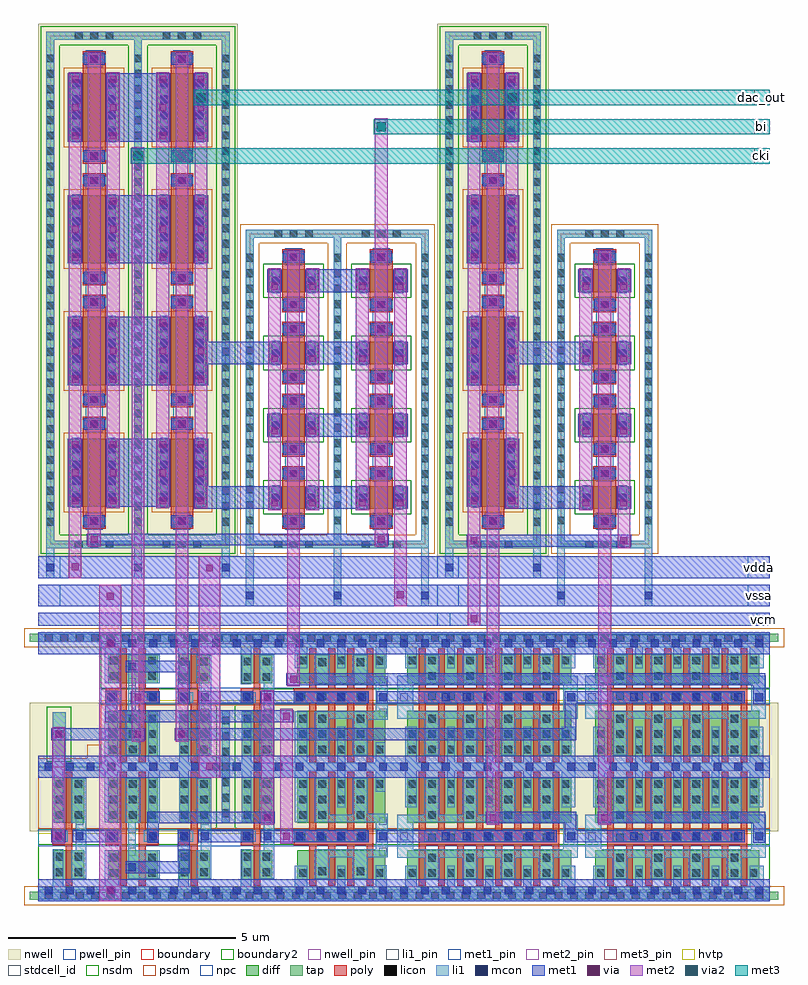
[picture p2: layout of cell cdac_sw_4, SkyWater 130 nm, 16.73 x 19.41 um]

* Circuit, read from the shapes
.subckt cdac_sw_4 bi cki dac_out vcm vdda vssa
XM1 nooverlap_clk_0/sky130_fd_sc_hd__nand2_1_1/B cki vssa vssa sky130_fd_pr__nfet_01v8 w=0.65 l=0.15
XM2 n1 nooverlap_clk_0/sky130_fd_sc_hd__nand2_1_1/B vssa vssa sky130_fd_pr__nfet_01v8 w=0.65 l=0.15
XM3 n2 nooverlap_clk_0/sky130_fd_sc_hd__inv_4_8/A vssa vssa sky130_fd_pr__nfet_01v8 w=0.65 l=0.15
XM4 nooverlap_clk_0/sky130_fd_sc_hd__inv_1_4/A nooverlap_clk_0/sky130_fd_sc_hd__inv_4_7/A n1 vssa sky130_fd_pr__nfet_01v8 w=0.65 l=0.15
XM5 nooverlap_clk_0/sky130_fd_sc_hd__inv_1_3/A cki n2 vssa sky130_fd_pr__nfet_01v8 w=0.65 l=0.15
XM6 nooverlap_clk_0/sky130_fd_sc_hd__inv_1_6/A nooverlap_clk_0/sky130_fd_sc_hd__inv_1_4/A vssa vssa sky130_fd_pr__nfet_01v8 w=0.65 l=0.15
XM7 nooverlap_clk_0/sky130_fd_sc_hd__inv_1_5/A nooverlap_clk_0/sky130_fd_sc_hd__inv_1_3/A vssa vssa sky130_fd_pr__nfet_01v8 w=0.65 l=0.15
XM8 nooverlap_clk_0/sky130_fd_sc_hd__inv_4_8/A nooverlap_clk_0/sky130_fd_sc_hd__inv_1_6/A vssa vssa sky130_fd_pr__nfet_01v8 w=0.65 l=0.15
XM9 nooverlap_clk_0/sky130_fd_sc_hd__inv_4_7/A nooverlap_clk_0/sky130_fd_sc_hd__inv_1_5/A vssa vssa sky130_fd_pr__nfet_01v8 w=0.65 l=0.15
XM10 n3 dac_sw_4_1/ck dac_out vssa sky130_fd_pr__nfet_01v8 w=0.5 l=0.5 m=4
XM11 nooverlap_clk_0/sky130_fd_sc_hd__inv_8_10/A nooverlap_clk_0/sky130_fd_sc_hd__inv_4_8/A vssa vssa sky130_fd_pr__nfet_01v8 w=0.65 l=0.15 m=4
XM12 nooverlap_clk_0/sky130_fd_sc_hd__inv_8_9/A nooverlap_clk_0/sky130_fd_sc_hd__inv_4_7/A vssa vssa sky130_fd_pr__nfet_01v8 w=0.65 l=0.15 m=4
XM13 vssa bi n3 vssa sky130_fd_pr__nfet_01v8 w=0.5 l=0.5 m=4
XM14 nooverlap_clk_0/clkb1 nooverlap_clk_0/sky130_fd_sc_hd__inv_8_10/A vssa vssa sky130_fd_pr__nfet_01v8 w=0.65 l=0.15 m=8
XM15 dac_sw_4_1/ckb nooverlap_clk_0/sky130_fd_sc_hd__inv_8_9/A vssa vssa sky130_fd_pr__nfet_01v8 w=0.65 l=0.15 m=8
XM16 vcm nooverlap_clk_0/clk1 dac_out vssa sky130_fd_pr__nfet_01v8 w=0.5 l=0.5 m=4
XM17 nooverlap_clk_0/clk1 nooverlap_clk_0/clkb1 vssa vssa sky130_fd_pr__nfet_01v8 w=0.65 l=0.15 m=8
XM18 dac_sw_4_1/ck dac_sw_4_1/ckb vssa vssa sky130_fd_pr__nfet_01v8 w=0.65 l=0.15 m=8
XM19 nooverlap_clk_0/sky130_fd_sc_hd__nand2_1_1/B cki vdda vdda sky130_fd_pr__pfet_01v8_hvt w=1 l=0.15
XM20 n4 bi vdda vdda sky130_fd_pr__pfet_01v8 w=1.5 l=0.5 m=4
XM21 nooverlap_clk_0/sky130_fd_sc_hd__inv_1_4/A nooverlap_clk_0/sky130_fd_sc_hd__nand2_1_1/B vdda vdda sky130_fd_pr__pfet_01v8_hvt w=1 l=0.15
XM22 nooverlap_clk_0/sky130_fd_sc_hd__inv_1_3/A nooverlap_clk_0/sky130_fd_sc_hd__inv_4_8/A vdda vdda sky130_fd_pr__pfet_01v8_hvt w=1 l=0.15
XM23 vdda nooverlap_clk_0/sky130_fd_sc_hd__inv_4_7/A nooverlap_clk_0/sky130_fd_sc_hd__inv_1_4/A vdda sky130_fd_pr__pfet_01v8_hvt w=1 l=0.15
XM24 vdda cki nooverlap_clk_0/sky130_fd_sc_hd__inv_1_3/A vdda sky130_fd_pr__pfet_01v8_hvt w=1 l=0.15
XM25 dac_out dac_sw_4_1/ckb n4 vdda sky130_fd_pr__pfet_01v8 w=1.5 l=0.5 m=4
XM26 nooverlap_clk_0/sky130_fd_sc_hd__inv_1_6/A nooverlap_clk_0/sky130_fd_sc_hd__inv_1_4/A vdda vdda sky130_fd_pr__pfet_01v8_hvt w=1 l=0.15
XM27 nooverlap_clk_0/sky130_fd_sc_hd__inv_1_5/A nooverlap_clk_0/sky130_fd_sc_hd__inv_1_3/A vdda vdda sky130_fd_pr__pfet_01v8_hvt w=1 l=0.15
XM28 nooverlap_clk_0/sky130_fd_sc_hd__inv_4_8/A nooverlap_clk_0/sky130_fd_sc_hd__inv_1_6/A vdda vdda sky130_fd_pr__pfet_01v8_hvt w=1 l=0.15
XM29 nooverlap_clk_0/sky130_fd_sc_hd__inv_4_7/A nooverlap_clk_0/sky130_fd_sc_hd__inv_1_5/A vdda vdda sky130_fd_pr__pfet_01v8_hvt w=1 l=0.15
XM30 nooverlap_clk_0/sky130_fd_sc_hd__inv_8_10/A nooverlap_clk_0/sky130_fd_sc_hd__inv_4_8/A vdda vdda sky130_fd_pr__pfet_01v8_hvt w=1 l=0.15 m=4
XM31 nooverlap_clk_0/sky130_fd_sc_hd__inv_8_9/A nooverlap_clk_0/sky130_fd_sc_hd__inv_4_7/A vdda vdda sky130_fd_pr__pfet_01v8_hvt w=1 l=0.15 m=4
XM32 nooverlap_clk_0/clkb1 nooverlap_clk_0/sky130_fd_sc_hd__inv_8_10/A vdda vdda sky130_fd_pr__pfet_01v8_hvt w=1 l=0.15 m=8
XM33 dac_sw_4_1/ckb nooverlap_clk_0/sky130_fd_sc_hd__inv_8_9/A vdda vdda sky130_fd_pr__pfet_01v8_hvt w=1 l=0.15 m=8
XM34 dac_out nooverlap_clk_0/clkb1 vcm vdda sky130_fd_pr__pfet_01v8 w=1.5 l=0.5 m=4
XM35 nooverlap_clk_0/clk1 nooverlap_clk_0/clkb1 vdda vdda sky130_fd_pr__pfet_01v8_hvt w=1 l=0.15 m=8
XM36 dac_sw_4_1/ck dac_sw_4_1/ckb vdda vdda sky130_fd_pr__pfet_01v8_hvt w=1 l=0.15 m=8
.ends

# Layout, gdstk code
import gdstk
lib = gdstk.Library(unit=1e-6, precision=1e-09)
def R(c, l, rs):  # rectangles x0, y0, x1, y1
    for r in rs: c.add(gdstk.rectangle(r[:2], r[2:], *l))
def A(c, l, x, y, w, h, nx, ny, dx, dy):  # array of equal rectangles
    R(c, l, [(x+i*dx, y+j*dy, x+i*dx+w, y+j*dy+h) for i in range(nx) for j in range(ny)])
def P(c, l, *ps):  # polygons
    for p in ps: c.add(gdstk.Polygon(p, *l))
nwell_pin = (64, 16)
nwell = (64, 20)
diff = (65, 20)
tap = (65, 44)
poly = (66, 20)
licon = (66, 44)
li1_pin = (67, 16)
li1 = (67, 20)
mcon = (67, 44)
met1_pin = (68, 16)
met1 = (68, 20)
via = (68, 44)
met2_pin = (69, 16)
met2 = (69, 20)
via2 = (69, 44)
met3_pin = (70, 16)
met3 = (70, 20)
hvtp = (78, 44)
stdcell_id = (81, 4)
nsdm = (93, 44)
psdm = (94, 20)
npc = (95, 20)
pwell_pin = (122, 16)
boundary = (235, 4)
boundary2 = (236, 0)

sky130_fd_sc_hd__nand2_1 = lib.new_cell('sky130_fd_sc_hd__nand2_1')
R(sky130_fd_sc_hd__nand2_1, nwell_pin, [(0.14,2.635,0.31,2.805)])
R(sky130_fd_sc_hd__nand2_1, nwell, [(-0.19,1.305,1.57,2.91)])
R(sky130_fd_sc_hd__nand2_1, diff, [(0.155,0.235,1.245,0.885), (0.155,1.485,1.245,2.485)])
P(sky130_fd_sc_hd__nand2_1, poly, [(1.275,1.325),(0.985,1.325),(0.985,2.615),(0.835,2.615),(0.835,0.105),(0.985,0.105),(0.985,0.995),(1.275,0.995)],
  [(0.565,2.615),(0.415,2.615),(0.415,1.325),(0.105,1.325),(0.105,0.995),(0.415,0.995),(0.415,0.105),(0.565,0.105)])
A(sky130_fd_sc_hd__nand2_1, licon, 0.195, 1.575, 0.17, 0.17, 3, 3, 0.42, 0.34)
R(sky130_fd_sc_hd__nand2_1, licon, [(0.195,0.295,0.365,0.465), (1.035,0.295,1.205,0.465), (0.195,0.635,0.365,0.805), (1.035,0.635,1.205,0.805), (0.18,1.075,0.35,1.245), (1.02,1.075,1.19,1.245)])
A(sky130_fd_sc_hd__nand2_1, li1_pin, 0.14, 1.105, 0.17, 0.17, 3, 1, 0.46, 0)
R(sky130_fd_sc_hd__nand2_1, li1_pin, [(0.6,0.425,0.77,0.595), (0.6,0.765,0.77,0.935)])
R(sky130_fd_sc_hd__nand2_1, li1, [(0.095,1.055,0.43,1.325), (0.94,1.075,1.275,1.325)])
P(sky130_fd_sc_hd__nand2_1, li1, [(1.38,0.085),(0.395,0.085),(0.395,0.885),(0.085,0.885),(0.085,0.085),(0,0.085),(0,-0.085),(1.38,-0.085)],
  [(1.38,2.805),(0,2.805),(0,2.635),(0.085,2.635),(0.085,1.495),(0.365,1.495),(0.365,2.635),(1.035,2.635),(1.035,1.495),(1.295,1.495),(1.295,2.635),(1.38,2.635)],
  [(1.295,0.885),(0.77,0.885),(0.77,1.485),(0.865,1.485),(0.865,2.465),(0.535,2.465),(0.535,1.485),(0.6,1.485),(0.6,0.255),(1.295,0.255)])
A(sky130_fd_sc_hd__nand2_1, mcon, 0.145, -0.085, 0.17, 0.17, 3, 2, 0.46, 2.72)
R(sky130_fd_sc_hd__nand2_1, met1_pin, [(0.14,-0.085,0.31,0.085), (0.14,2.635,0.31,2.805)])
R(sky130_fd_sc_hd__nand2_1, hvtp, [(0,1.25,1.38,2.72)])
R(sky130_fd_sc_hd__nand2_1, stdcell_id, [(0,0,1.38,2.72)])
R(sky130_fd_sc_hd__nand2_1, nsdm, [(0,-0.19,1.38,1.015)])
R(sky130_fd_sc_hd__nand2_1, psdm, [(0,1.355,1.38,2.91)])
R(sky130_fd_sc_hd__nand2_1, npc, [(0,0.975,1.38,1.345)])
R(sky130_fd_sc_hd__nand2_1, pwell_pin, [(0.14,-0.085,0.31,0.085)])
R(sky130_fd_sc_hd__nand2_1, boundary2, [(0,0,1.38,2.72)])
sky130_fd_sc_hd__nand2_1.add(gdstk.FlexPath([(0,2.72),(1.38,2.72)], 0.48, ends="flush", simple_path=True, layer=68, datatype=20))  # met1
sky130_fd_sc_hd__nand2_1.add(gdstk.FlexPath([(0,0),(1.38,0)], 0.48, ends="flush", simple_path=True, layer=68, datatype=20))  # met1
sky130_fd_sc_hd__nand2_1.add(gdstk.Label('Y', (0.685,0.51), layer=67, texttype=5))
sky130_fd_sc_hd__nand2_1.add(gdstk.Label('Y', (0.685,0.85), layer=67, texttype=5))
sky130_fd_sc_hd__nand2_1.add(gdstk.Label('Y', (0.685,1.19), layer=67, texttype=5))
sky130_fd_sc_hd__nand2_1.add(gdstk.Label('B', (0.225,1.19), layer=67, texttype=5))
sky130_fd_sc_hd__nand2_1.add(gdstk.Label('A', (1.145,1.19), layer=67, texttype=5))
sky130_fd_sc_hd__nand2_1.add(gdstk.Label('VPB', (0.225,2.72), layer=64, texttype=5))
sky130_fd_sc_hd__nand2_1.add(gdstk.Label('VNB', (0.225,0), layer=64, texttype=59))
sky130_fd_sc_hd__nand2_1.add(gdstk.Label('VGND', (0.23,0), layer=68, texttype=5))
sky130_fd_sc_hd__nand2_1.add(gdstk.Label('VPWR', (0.225,2.72), layer=68, texttype=5))
sky130_fd_sc_hd__nand2_1.add(gdstk.Label('nand2_1', (0,0), layer=83, texttype=44))

sky130_fd_sc_hd__inv_1 = lib.new_cell('sky130_fd_sc_hd__inv_1')
R(sky130_fd_sc_hd__inv_1, nwell_pin, [(0.145,2.635,0.315,2.805), (0.145,2.635,0.315,2.805)])
R(sky130_fd_sc_hd__inv_1, nwell, [(-0.19,1.305,1.57,2.91)])
R(sky130_fd_sc_hd__inv_1, diff, [(0.34,0.235,1.01,0.885), (0.34,1.485,1.01,2.485)])
P(sky130_fd_sc_hd__inv_1, poly, [(0.75,2.615),(0.6,2.615),(0.6,1.325),(0.32,1.325),(0.32,0.995),(0.6,0.995),(0.6,0.105),(0.75,0.105)])
A(sky130_fd_sc_hd__inv_1, licon, 0.38, 1.575, 0.17, 0.17, 1, 3, 0, 0.34)
A(sky130_fd_sc_hd__inv_1, licon, 0.8, 1.575, 0.17, 0.17, 1, 3, 0, 0.34)
R(sky130_fd_sc_hd__inv_1, licon, [(0.38,0.315,0.55,0.485), (0.8,0.315,0.97,0.485), (0.38,0.655,0.55,0.825), (0.8,0.655,0.97,0.825), (0.4,1.075,0.57,1.245)])
R(sky130_fd_sc_hd__inv_1, li1_pin, [(0.36,1.105,0.53,1.275), (0.82,1.105,0.99,1.275), (0.82,1.445,0.99,1.615)])
R(sky130_fd_sc_hd__inv_1, li1, [(0,-0.085,1.38,0.085), (0.32,0.005,0.55,0.905), (0.32,1.075,0.65,1.315), (0.34,1.495,0.55,2.675), (0,2.635,1.38,2.805)])
P(sky130_fd_sc_hd__inv_1, li1, [(1.05,2.465),(0.72,2.465),(0.72,1.485),(0.82,1.485),(0.82,0.885),(0.72,0.885),(0.72,0.255),(1.05,0.255)])
A(sky130_fd_sc_hd__inv_1, mcon, 0.145, -0.085, 0.17, 0.17, 3, 2, 0.46, 2.72)
R(sky130_fd_sc_hd__inv_1, met1_pin, [(0.145,-0.085,0.315,0.085), (0.145,-0.085,0.315,0.085), (0.145,2.635,0.315,2.805), (0.145,2.635,0.315,2.805)])
R(sky130_fd_sc_hd__inv_1, hvtp, [(0,1.25,1.38,2.72)])
R(sky130_fd_sc_hd__inv_1, stdcell_id, [(0,0,1.38,2.72)])
R(sky130_fd_sc_hd__inv_1, nsdm, [(0,-0.19,1.38,1.015)])
R(sky130_fd_sc_hd__inv_1, psdm, [(0,1.355,1.38,2.91)])
R(sky130_fd_sc_hd__inv_1, npc, [(0,0.975,1.38,1.345)])
R(sky130_fd_sc_hd__inv_1, pwell_pin, [(0.145,-0.085,0.315,0.085), (0.145,-0.085,0.315,0.085)])
R(sky130_fd_sc_hd__inv_1, boundary2, [(0,0,1.38,2.72)])
sky130_fd_sc_hd__inv_1.add(gdstk.FlexPath([(0,2.72),(1.38,2.72)], 0.48, ends="flush", simple_path=True, layer=68, datatype=20))  # met1
sky130_fd_sc_hd__inv_1.add(gdstk.FlexPath([(0,0),(1.38,0)], 0.48, ends="flush", simple_path=True, layer=68, datatype=20))  # met1
sky130_fd_sc_hd__inv_1.add(gdstk.Label('Y', (0.905,1.53), layer=67, texttype=5))
sky130_fd_sc_hd__inv_1.add(gdstk.Label('Y', (0.905,1.19), layer=67, texttype=5))
sky130_fd_sc_hd__inv_1.add(gdstk.Label('A', (0.445,1.19), layer=67, texttype=5))
sky130_fd_sc_hd__inv_1.add(gdstk.Label('VPB', (0.23,2.72), layer=64, texttype=5))
sky130_fd_sc_hd__inv_1.add(gdstk.Label('VNB', (0.23,0), layer=64, texttype=59))
sky130_fd_sc_hd__inv_1.add(gdstk.Label('VGND', (0.23,0), layer=68, texttype=5))
sky130_fd_sc_hd__inv_1.add(gdstk.Label('VPWR', (0.23,2.72), layer=68, texttype=5))
sky130_fd_sc_hd__inv_1.add(gdstk.Label('inv_1', (0,0), layer=83, texttype=44))

sky130_fd_sc_hd__inv_4 = lib.new_cell('sky130_fd_sc_hd__inv_4')
R(sky130_fd_sc_hd__inv_4, nwell_pin, [(0.145,2.635,0.315,2.805)])
R(sky130_fd_sc_hd__inv_4, nwell, [(-0.19,1.305,2.49,2.91)])
R(sky130_fd_sc_hd__inv_4, diff, [(0.185,0.235,2.115,0.885), (0.185,1.485,2.115,2.485)])
P(sky130_fd_sc_hd__inv_4, poly, [(1.855,2.615),(1.705,2.615),(1.705,1.325),(1.435,1.325),(1.435,2.615),(1.285,2.615),(1.285,1.325),(1.015,1.325),(1.015,2.615),(0.865,2.615),(0.865,1.325),(0.595,1.325),(0.595,2.615),(0.445,2.615),(0.445,1.325),(0.105,1.325),(0.105,0.995),(0.445,0.995),(0.445,0.105),(0.595,0.105),(0.595,0.995),(0.865,0.995),(0.865,0.105),(1.015,0.105),(1.015,0.995),(1.285,0.995),(1.285,0.105),(1.435,0.105),(1.435,0.995),(1.705,0.995),(1.705,0.105),(1.855,0.105)])
A(sky130_fd_sc_hd__inv_4, licon, 0.645, 1.075, 0.17, 0.17, 3, 1, 0.42, 0)
A(sky130_fd_sc_hd__inv_4, licon, 0.225, 1.915, 0.17, 0.17, 4, 1, 0.42, 0)
A(sky130_fd_sc_hd__inv_4, licon, 0.225, 2.255, 0.17, 0.17, 5, 1, 0.42, 0)
R(sky130_fd_sc_hd__inv_4, licon, [(0.225,0.295,0.395,0.465), (1.065,0.295,1.235,0.465), (1.905,0.3,2.075,0.47), (0.645,0.335,0.815,0.505), (1.485,0.335,1.655,0.505), (0.185,1.075,0.355,1.245), (0.225,1.575,0.395,1.745), (0.645,1.575,0.815,1.745), (1.485,1.575,1.655,1.745)])
A(sky130_fd_sc_hd__inv_4, li1_pin, 0.145, 1.105, 0.17, 0.17, 5, 1, 0.46, 0)
R(sky130_fd_sc_hd__inv_4, li1_pin, [(1.985,0.765,2.155,0.935), (1.985,1.445,2.155,1.615)])
R(sky130_fd_sc_hd__inv_4, li1, [(0.105,1.075,1.735,1.325)])
P(sky130_fd_sc_hd__inv_4, li1, [(2.3,0.085),(2.155,0.085),(2.155,0.55),(1.905,0.55),(1.905,0.085),(1.235,0.085),(1.235,0.545),(1.065,0.545),(1.065,0.085),(0.395,0.085),(0.395,0.545),(0.13,0.545),(0.13,0.085),(0,0.085),(0,-0.085),(2.3,-0.085)],
  [(2.3,2.805),(0,2.805),(0,2.635),(0.13,2.635),(0.13,1.495),(0.395,1.495),(0.395,2.635),(1.065,2.635),(1.065,1.835),(1.235,1.835),(1.235,2.635),(1.905,2.635),(1.905,2.175),(2.115,2.175),(2.115,2.635),(2.3,2.635)],
  [(2.17,1.685),(1.735,1.685),(1.735,2.465),(1.405,2.465),(1.405,1.665),(0.895,1.665),(0.895,2.465),(0.565,2.465),(0.565,1.495),(1.905,1.495),(1.905,0.905),(0.565,0.905),(0.565,0.255),(0.895,0.255),(0.895,0.725),(1.405,0.725),(1.405,0.255),(1.735,0.255),(1.735,0.725),(2.17,0.725)])
A(sky130_fd_sc_hd__inv_4, mcon, 0.145, -0.085, 0.17, 0.17, 5, 2, 0.46, 2.72)
R(sky130_fd_sc_hd__inv_4, met1_pin, [(0.145,-0.085,0.315,0.085), (0.145,2.635,0.315,2.805)])
R(sky130_fd_sc_hd__inv_4, hvtp, [(0,1.25,2.3,2.72)])
R(sky130_fd_sc_hd__inv_4, stdcell_id, [(0,0,2.3,2.72)])
R(sky130_fd_sc_hd__inv_4, nsdm, [(0,-0.19,2.3,1.015)])
R(sky130_fd_sc_hd__inv_4, psdm, [(0,1.355,2.3,2.91)])
R(sky130_fd_sc_hd__inv_4, npc, [(0,0.975,2.3,1.345)])
R(sky130_fd_sc_hd__inv_4, pwell_pin, [(0.145,-0.085,0.315,0.085)])
R(sky130_fd_sc_hd__inv_4, boundary2, [(0,0,2.3,2.72)])
sky130_fd_sc_hd__inv_4.add(gdstk.FlexPath([(0,2.72),(2.3,2.72)], 0.48, ends="flush", simple_path=True, layer=68, datatype=20))  # met1
sky130_fd_sc_hd__inv_4.add(gdstk.FlexPath([(0,0),(2.3,0)], 0.48, ends="flush", simple_path=True, layer=68, datatype=20))  # met1
sky130_fd_sc_hd__inv_4.add(gdstk.Label('Y', (2.07,0.85), layer=67, texttype=5))
sky130_fd_sc_hd__inv_4.add(gdstk.Label('Y', (2.07,1.19), layer=67, texttype=5))
sky130_fd_sc_hd__inv_4.add(gdstk.Label('Y', (2.07,1.53), layer=67, texttype=5))
sky130_fd_sc_hd__inv_4.add(gdstk.Label('A', (0.23,1.19), layer=67, texttype=5))
sky130_fd_sc_hd__inv_4.add(gdstk.Label('A', (0.69,1.19), layer=67, texttype=5))
sky130_fd_sc_hd__inv_4.add(gdstk.Label('A', (1.15,1.19), layer=67, texttype=5))
sky130_fd_sc_hd__inv_4.add(gdstk.Label('A', (1.61,1.19), layer=67, texttype=5))
sky130_fd_sc_hd__inv_4.add(gdstk.Label('VPB', (0.23,2.72), layer=64, texttype=5))
sky130_fd_sc_hd__inv_4.add(gdstk.Label('VNB', (0.23,0), layer=64, texttype=59))
sky130_fd_sc_hd__inv_4.add(gdstk.Label('VPWR', (0.23,2.72), layer=68, texttype=5))
sky130_fd_sc_hd__inv_4.add(gdstk.Label('VGND', (0.23,0), layer=68, texttype=5))
sky130_fd_sc_hd__inv_4.add(gdstk.Label('inv_4', (0,0), layer=83, texttype=44))

sky130_fd_sc_hd__inv_8 = lib.new_cell('sky130_fd_sc_hd__inv_8')
R(sky130_fd_sc_hd__inv_8, nwell_pin, [(0.145,2.635,0.315,2.805)])
R(sky130_fd_sc_hd__inv_8, nwell, [(-0.19,1.305,4.33,2.91)])
R(sky130_fd_sc_hd__inv_8, diff, [(0.3,0.235,3.91,0.885), (0.3,1.485,3.91,2.485)])
P(sky130_fd_sc_hd__inv_8, poly, [(3.65,2.615),(3.5,2.615),(3.5,1.325),(3.23,1.325),(3.23,2.615),(3.08,2.615),(3.08,1.325),(2.81,1.325),(2.81,2.615),(2.66,2.615),(2.66,1.325),(2.39,1.325),(2.39,2.615),(2.24,2.615),(2.24,1.325),(1.97,1.325),(1.97,2.615),(1.82,2.615),(1.82,1.325),(1.55,1.325),(1.55,2.615),(1.4,2.615),(1.4,1.325),(1.13,1.325),(1.13,2.615),(0.98,2.615),(0.98,1.325),(0.71,1.325),(0.71,2.615),(0.56,2.615),(0.56,0.105),(0.71,0.105),(0.71,0.995),(0.98,0.995),(0.98,0.105),(1.13,0.105),(1.13,0.995),(1.4,0.995),(1.4,0.105),(1.55,0.105),(1.55,0.995),(1.82,0.995),(1.82,0.105),(1.97,0.105),(1.97,0.995),(2.24,0.995),(2.24,0.105),(2.39,0.105),(2.39,0.995),(2.66,0.995),(2.66,0.105),(2.81,0.105),(2.81,0.995),(3.08,0.995),(3.08,0.105),(3.23,0.105),(3.23,0.995),(3.5,0.995),(3.5,0.105),(3.65,0.105)])
A(sky130_fd_sc_hd__inv_8, licon, 0.34, 0.295, 0.17, 0.17, 9, 2, 0.42, 1.62)
A(sky130_fd_sc_hd__inv_8, licon, 0.76, 0.635, 0.17, 0.17, 4, 2, 0.84, 0.94)
A(sky130_fd_sc_hd__inv_8, licon, 0.76, 1.075, 0.17, 0.17, 7, 1, 0.42, 0)
A(sky130_fd_sc_hd__inv_8, licon, 0.34, 2.255, 0.17, 0.17, 9, 1, 0.42, 0)
A(sky130_fd_sc_hd__inv_8, li1_pin, 1.065, 1.105, 0.17, 0.17, 7, 1, 0.46, 0)
R(sky130_fd_sc_hd__inv_8, li1_pin, [(0.145,1.105,0.315,1.275)])
R(sky130_fd_sc_hd__inv_8, li1, [(0.68,1.075,3.535,1.325)])
P(sky130_fd_sc_hd__inv_8, li1, [(4.055,1.665),(3.735,1.665),(3.735,0.905),(0.43,0.905),(0.43,1.495),(3.735,1.495),(3.735,1.665),(3.53,1.665),(3.53,2.465),(3.2,2.465),(3.2,1.665),(2.69,1.665),(2.69,2.465),(2.36,2.465),(2.36,1.665),(1.85,1.665),(1.85,2.465),(1.52,2.465),(1.52,1.665),(1.01,1.665),(1.01,2.465),(0.68,2.465),(0.68,1.665),(0.085,1.665),(0.085,0.715),(0.68,0.715),(0.68,0.255),(1.01,0.255),(1.01,0.715),(1.52,0.715),(1.52,0.255),(1.85,0.255),(1.85,0.715),(2.36,0.715),(2.36,0.255),(2.69,0.255),(2.69,0.715),(3.2,0.715),(3.2,0.255),(3.53,0.255),(3.53,0.715),(4.055,0.715)],
  [(4.14,0.085),(4.005,0.085),(4.005,0.545),(3.7,0.545),(3.7,0.085),(3.03,0.085),(3.03,0.545),(2.86,0.545),(2.86,0.085),(2.19,0.085),(2.19,0.545),(2.02,0.545),(2.02,0.085),(1.35,0.085),(1.35,0.545),(1.18,0.545),(1.18,0.085),(0.51,0.085),(0.51,0.545),(0.255,0.545),(0.255,0.085),(0,0.085),(0,-0.085),(4.14,-0.085)],
  [(4.14,2.805),(0,2.805),(0,2.635),(0.255,2.635),(0.255,1.835),(0.51,1.835),(0.51,2.635),(1.18,2.635),(1.18,1.835),(1.35,1.835),(1.35,2.635),(2.02,2.635),(2.02,1.835),(2.19,1.835),(2.19,2.635),(2.86,2.635),(2.86,1.835),(3.03,1.835),(3.03,2.635),(3.7,2.635),(3.7,1.835),(4,1.835),(4,2.635),(4.14,2.635)])
A(sky130_fd_sc_hd__inv_8, mcon, 0.145, -0.085, 0.17, 0.17, 9, 2, 0.46, 2.72)
R(sky130_fd_sc_hd__inv_8, met1_pin, [(0.145,-0.085,0.315,0.085), (0.145,2.635,0.315,2.805)])
R(sky130_fd_sc_hd__inv_8, hvtp, [(0,1.25,4.14,2.72)])
R(sky130_fd_sc_hd__inv_8, stdcell_id, [(0,0,4.14,2.72)])
R(sky130_fd_sc_hd__inv_8, nsdm, [(0,-0.19,4.14,1.015)])
R(sky130_fd_sc_hd__inv_8, psdm, [(0,1.355,4.14,2.91)])
R(sky130_fd_sc_hd__inv_8, npc, [(0,0.975,4.14,1.345)])
R(sky130_fd_sc_hd__inv_8, pwell_pin, [(0.145,-0.085,0.315,0.085)])
R(sky130_fd_sc_hd__inv_8, boundary2, [(0,0,4.14,2.72)])
sky130_fd_sc_hd__inv_8.add(gdstk.FlexPath([(0,2.72),(4.14,2.72)], 0.48, ends="flush", simple_path=True, layer=68, datatype=20))  # met1
sky130_fd_sc_hd__inv_8.add(gdstk.FlexPath([(0,0),(4.14,0)], 0.48, ends="flush", simple_path=True, layer=68, datatype=20))  # met1
sky130_fd_sc_hd__inv_8.add(gdstk.Label('A', (1.15,1.19), layer=67, texttype=5))
sky130_fd_sc_hd__inv_8.add(gdstk.Label('A', (1.61,1.19), layer=67, texttype=5))
sky130_fd_sc_hd__inv_8.add(gdstk.Label('A', (2.07,1.19), layer=67, texttype=5))
sky130_fd_sc_hd__inv_8.add(gdstk.Label('A', (2.53,1.19), layer=67, texttype=5))
sky130_fd_sc_hd__inv_8.add(gdstk.Label('A', (2.99,1.19), layer=67, texttype=5))
sky130_fd_sc_hd__inv_8.add(gdstk.Label('A', (3.45,1.19), layer=67, texttype=5))
sky130_fd_sc_hd__inv_8.add(gdstk.Label('Y', (3.91,1.19), layer=67, texttype=5))
sky130_fd_sc_hd__inv_8.add(gdstk.Label('Y', (0.23,1.19), layer=67, texttype=5))
sky130_fd_sc_hd__inv_8.add(gdstk.Label('VNB', (0.23,0), layer=64, texttype=59))
sky130_fd_sc_hd__inv_8.add(gdstk.Label('VPB', (0.23,2.72), layer=64, texttype=5))
sky130_fd_sc_hd__inv_8.add(gdstk.Label('VGND', (0.23,0), layer=68, texttype=5))
sky130_fd_sc_hd__inv_8.add(gdstk.Label('VPWR', (0.23,2.72), layer=68, texttype=5))
sky130_fd_sc_hd__inv_8.add(gdstk.Label('inv_8', (0,0), layer=83, texttype=44))

nooverlap_clk = lib.new_cell('nooverlap_clk')
R(nooverlap_clk, nwell, [(-2.81,-2.365,13.67,0.445), (-2.81,0.445,0.035,0.46), (0.065,0.445,13.67,0.46)])
R(nooverlap_clk, tap, [(-2.81,-3.88,13.67,-3.71), (1.42,-2.19,1.59,0.28), (-2.305,-0.715,-2.015,0.245), (-2.81,1.8,13.67,1.97)])
A(nooverlap_clk, licon, -2.475, -3.88, 0.17, 0.17, 47, 2, 0.34, 5.68)
A(nooverlap_clk, licon, 1.42, -2.06, 0.17, 0.17, 1, 7, 0, 0.34)
R(nooverlap_clk, licon, [(-2.245,-0.315,-2.075,-0.145)])
A(nooverlap_clk, li1, 3.045, -2.57, 0.17, 0.17, 5, 2, 0.46, 3.06)
A(nooverlap_clk, li1, 6.265, -2.57, 0.17, 0.17, 7, 2, 0.46, 3.06)
A(nooverlap_clk, li1, 10.405, -2.57, 0.17, 0.17, 7, 2, 0.46, 3.06)
R(nooverlap_clk, li1, [(-2.62,-3.88,13.48,-3.71), (-0.64,-3.25,-0.47,-3.08), (-2.26,-2.57,-2.09,-2.4), (-1.8,-2.57,-1.63,-2.4), (-1.1,-2.57,-0.93,-2.4), (-0.18,-2.57,-0.01,-2.4), (0.5,-2.57,0.67,-2.4), (0.96,-2.57,1.13,-2.4), (1.88,-2.57,2.05,-2.4), (2.34,-2.57,2.51,-2.4), (1.42,-2.19,1.59,0.28), (-2.305,-0.91,-2.015,0.245), (-1.1,0.49,-0.93,0.66), (-0.18,0.49,-0.01,0.66), (0.5,0.49,0.67,0.66), (0.96,0.49,1.13,0.66), (1.88,0.49,2.05,0.66), (2.34,0.49,2.51,0.66), (-0.64,1.17,-0.47,1.34), (-2.62,1.8,13.48,1.97)])
A(nooverlap_clk, mcon, 3.045, -2.57, 0.17, 0.17, 5, 2, 0.46, 3.06)
A(nooverlap_clk, mcon, 6.265, -2.57, 0.17, 0.17, 7, 2, 0.46, 3.06)
A(nooverlap_clk, mcon, 10.405, -2.57, 0.17, 0.17, 7, 2, 0.46, 3.06)
R(nooverlap_clk, mcon, [(-0.64,-3.25,-0.47,-3.08), (-2.26,-2.57,-2.09,-2.4), (-1.8,-2.57,-1.63,-2.4), (-1.1,-2.57,-0.93,-2.4), (-0.18,-2.57,-0.01,-2.4), (0.5,-2.57,0.67,-2.4), (0.96,-2.57,1.13,-2.4), (1.88,-2.57,2.05,-2.4), (2.34,-2.57,2.51,-2.4), (-1.1,0.49,-0.93,0.66), (-0.18,0.49,-0.01,0.66), (0.5,0.49,0.67,0.66), (0.96,0.49,1.13,0.66), (1.88,0.49,2.05,0.66), (2.34,0.49,2.51,0.66), (-0.64,1.17,-0.47,1.34)])
R(nooverlap_clk, met1, [(-1.275,-3.885,-0.795,-3.435), (-0.7,-3.295,0.715,-3.035), (0.455,-3.035,0.715,-2.34), (-0.225,-2.63,0.035,-2.2), (13.12,-2.63,13.38,-2.2), (-2.335,-2.615,-2.015,-2.355), (-1.86,-2.615,-0.87,-2.355), (0.9,-2.615,2.11,-2.355), (2.28,-2.615,4.655,-2.355), (4.825,-2.615,8.795,-2.355), (8.965,-2.615,12.935,-2.355), (8.965,-2.355,9.225,-2.2), (-0.225,-2.2,2.585,-1.94), (7.23,-2.2,9.225,-1.94), (9.69,-2.2,13.38,-1.94), (0.91,-1.165,1.39,-0.715), (-2.335,-0.37,-0.265,-0.11), (0.38,-0.37,9.225,-0.11), (8.965,-0.11,9.225,0.445), (-1.145,0.03,3.005,0.29), (-1.145,0.29,-0.885,0.72), (13.12,0.425,13.38,0.845), (0.455,0.43,0.715,1.125), (-0.585,0.445,0.05,0.705), (0.9,0.445,2.11,0.705), (2.265,0.445,4.655,0.705), (4.825,0.445,8.795,0.705), (8.965,0.445,12.935,0.705), (2.84,0.845,13.38,1.105), (-0.7,1.125,0.715,1.385), (-2.62,1.525,-0.795,1.975), (-2.62,1.975,-1.24,2.005)])
R(nooverlap_clk, via, [(-1.11,-3.735,-0.96,-3.585), (-2.25,-2.56,-2.1,-2.41), (2.77,-2.56,2.92,-2.41), (2.35,-2.145,2.5,-1.995), (7.315,-2.145,7.465,-1.995), (9.775,-2.145,9.925,-1.995), (1.075,-1.015,1.225,-0.865), (-2.25,-0.315,-2.1,-0.165), (-0.5,-0.315,-0.35,-0.165), (0.465,-0.315,0.615,-0.165), (2.77,0.085,2.92,0.235), (-0.5,0.5,-0.35,0.65), (2.35,0.5,2.5,0.65), (2.925,0.9,3.075,1.05), (-1.11,1.675,-0.96,1.825)])
R(nooverlap_clk, met2_pin, [(-1.275,1.525,-0.795,2.005), (0.91,1.525,1.39,2.005), (-0.565,1.725,-0.285,2.005), (0.4,1.725,0.68,2.005), (2.86,1.725,3.14,2.005), (7.25,1.725,7.53,2.005), (9.71,1.725,9.99,2.005)])
R(nooverlap_clk, met2, [(-1.275,-3.915,-0.795,2.005), (-2.315,-2.645,-2.035,-0.08), (2.705,-2.645,2.985,0.32), (2.285,-2.23,2.565,0.735), (7.25,-2.23,7.53,2.005), (9.71,-2.23,9.99,2.005), (0.91,-1.195,1.39,2.005), (-0.565,-0.4,-0.285,2.005), (0.4,-0.4,0.68,2.005), (2.86,0.815,3.14,2.005)])
R(nooverlap_clk, hvtp, [(-1.005,-1.01,-0.075,-0.9), (0.56,-1.01,1.07,-0.9), (1.94,-1.01,2.45,-0.9), (3.165,-1.01,4.935,-0.9), (5.58,-1.01,9.03,-0.9), (9.72,-1.01,13.17,-0.9)])
R(nooverlap_clk, nsdm, [(-1.485,-3.565,-1.21,-2.665), (0.13,-3.565,0.355,-2.665), (2.655,-3.565,2.96,-2.665), (5.14,-3.565,5.375,-2.665), (9.235,-3.565,9.515,-2.665), (1.275,-2.68,1.735,-2.665), (0.895,-2.665,2.115,-2.315), (1.275,-2.315,1.735,-2.3), (1.295,-2.3,1.715,0.39), (-2.43,-0.84,-1.89,0.37), (1.275,0.39,1.735,0.405), (0.895,0.405,2.115,0.755), (0.13,0.755,0.355,1.655), (1.275,0.755,1.735,0.77), (2.655,0.755,2.96,1.655), (5.14,0.755,5.375,1.655), (9.235,0.755,9.515,1.655)])
R(nooverlap_clk, psdm, [(-2.935,-4.005,13.795,-3.585), (-1.485,-2.315,-1.21,-1.065), (0.13,-2.315,0.355,-1.065), (2.655,-2.315,2.96,-1.065), (5.14,-2.315,5.375,-1.065), (9.235,-2.315,9.515,-1.065), (-1.54,-1.065,1.275,-0.845), (1.735,-1.065,13.375,-0.845), (-1.54,-0.845,-1.21,-0.465), (0.13,-0.845,0.355,0.405), (2.655,-0.845,2.96,0.405), (5.14,-0.845,5.375,0.405), (9.235,-0.845,9.515,0.405), (-2.935,1.675,13.795,2.095)])
nooverlap_clk.add(gdstk.Reference(sky130_fd_sc_hd__nand2_1, (-1.24,1.765), x_reflection=True))
nooverlap_clk.add(gdstk.Reference(sky130_fd_sc_hd__nand2_1, (-1.24,-3.675)))
nooverlap_clk.add(gdstk.Reference(sky130_fd_sc_hd__inv_1, (-2.62,-3.675)))
nooverlap_clk.add(gdstk.Reference(sky130_fd_sc_hd__inv_1, (0.14,1.765), x_reflection=True))
nooverlap_clk.add(gdstk.Reference(sky130_fd_sc_hd__inv_1, (0.14,-3.675)))
nooverlap_clk.add(gdstk.Reference(sky130_fd_sc_hd__inv_1, (1.52,1.765), x_reflection=True))
nooverlap_clk.add(gdstk.Reference(sky130_fd_sc_hd__inv_1, (1.52,-3.675)))
nooverlap_clk.add(gdstk.Reference(sky130_fd_sc_hd__inv_4, (2.9,1.765), x_reflection=True))
nooverlap_clk.add(gdstk.Reference(sky130_fd_sc_hd__inv_4, (2.9,-3.675)))
nooverlap_clk.add(gdstk.Reference(sky130_fd_sc_hd__inv_8, (5.2,1.765), x_reflection=True))
nooverlap_clk.add(gdstk.Reference(sky130_fd_sc_hd__inv_8, (5.2,-3.675)))
nooverlap_clk.add(gdstk.Reference(sky130_fd_sc_hd__inv_8, (9.34,1.765), x_reflection=True))
nooverlap_clk.add(gdstk.Reference(sky130_fd_sc_hd__inv_8, (9.34,-3.675)))
nooverlap_clk.add(gdstk.Label('vdda', (1.15,1.765), layer=69, texttype=5))
nooverlap_clk.add(gdstk.Label('in', (-0.425,1.865), layer=69, texttype=5))
nooverlap_clk.add(gdstk.Label('vssa', (-1.035,1.765), layer=69, texttype=5))
nooverlap_clk.add(gdstk.Label('clk0', (3,1.865), layer=69, texttype=5))
nooverlap_clk.add(gdstk.Label('clkb0', (0.54,1.865), layer=69, texttype=5))
nooverlap_clk.add(gdstk.Label('clk1', (9.85,1.865), layer=69, texttype=5))
nooverlap_clk.add(gdstk.Label('clkb1', (7.39,1.865), layer=69, texttype=5))

sky130_fd_pr__nfet_01v8_ = lib.new_cell('sky130_fd_pr__nfet_01v8_XHGLWN')
A(sky130_fd_pr__nfet_01v8_, diff, -0.54, -2.635, 1.08, 0.5, 1, 4, 0, 1.59)
R(sky130_fd_pr__nfet_01v8_, tap, [(-1.05,-3.505,1.05,-3.335), (-1.05,-3.335,-0.88,3.335), (0.88,-3.335,1.05,3.335), (-1.05,3.335,1.05,3.505)])
A(sky130_fd_pr__nfet_01v8_, poly, -0.25, -3.075, 0.5, 1.38, 1, 4, 0, 1.59)
A(sky130_fd_pr__nfet_01v8_, licon, -0.425, -3.505, 0.17, 0.17, 3, 2, 0.34, 6.84)
A(sky130_fd_pr__nfet_01v8_, licon, -1.05, -2.975, 0.17, 0.17, 1, 18, 0, 0.34)
A(sky130_fd_pr__nfet_01v8_, licon, 0.88, -2.975, 0.17, 0.17, 1, 18, 0, 0.34)
A(sky130_fd_pr__nfet_01v8_, licon, -0.48, -2.47, 0.17, 0.17, 1, 4, 0, 1.59)
A(sky130_fd_pr__nfet_01v8_, licon, 0.31, -2.47, 0.17, 0.17, 1, 4, 0, 1.59)
R(sky130_fd_pr__nfet_01v8_, licon, [(-0.085,-2.995,0.085,-2.825), (-0.085,-1.945,0.085,-1.775), (-0.085,-1.405,0.085,-1.235), (-0.085,-0.355,0.085,-0.185), (-0.085,0.185,0.085,0.355), (-0.085,1.235,0.085,1.405), (-0.085,1.775,0.085,1.945), (-0.085,2.825,0.085,2.995)])
A(sky130_fd_pr__nfet_01v8_, li1, -0.48, -2.655, 0.17, 0.54, 1, 4, 0, 1.59)
A(sky130_fd_pr__nfet_01v8_, li1, 0.31, -2.655, 0.17, 0.54, 1, 4, 0, 1.59)
R(sky130_fd_pr__nfet_01v8_, li1, [(-1.05,-3.505,1.05,-3.335), (-1.05,-3.335,-0.88,3.335), (0.88,-3.335,1.05,3.335), (-0.25,-2.995,0.25,-2.825), (-0.25,-1.945,0.25,-1.775), (-0.25,-1.405,0.25,-1.235), (-0.25,-0.355,0.25,-0.185), (-0.25,0.185,0.25,0.355), (-0.25,1.235,0.25,1.405), (-0.25,1.775,0.25,1.945), (-0.25,2.825,0.25,2.995), (-1.05,3.335,1.05,3.505)])
A(sky130_fd_pr__nfet_01v8_, mcon, -0.48, -2.47, 0.17, 0.17, 1, 4, 0, 1.59)
A(sky130_fd_pr__nfet_01v8_, mcon, 0.31, -2.47, 0.17, 0.17, 1, 4, 0, 1.59)
R(sky130_fd_pr__nfet_01v8_, mcon, [(-0.085,-2.995,0.085,-2.825), (-0.085,-1.945,0.085,-1.775), (-0.085,-1.405,0.085,-1.235), (-0.085,-0.355,0.085,-0.185), (-0.085,0.185,0.085,0.355), (-0.085,1.235,0.085,1.405), (-0.085,1.775,0.085,1.945), (-0.085,2.825,0.085,2.995)])
A(sky130_fd_pr__nfet_01v8_, met1, -0.51, -2.635, 0.23, 0.5, 1, 4, 0, 1.59)
A(sky130_fd_pr__nfet_01v8_, met1, 0.28, -2.635, 0.23, 0.5, 1, 4, 0, 1.59)
R(sky130_fd_pr__nfet_01v8_, met1, [(-0.23,-3.025,0.23,-2.795), (-0.23,-1.975,0.23,-1.745), (-0.23,-1.435,0.23,-1.205), (-0.23,-0.385,0.23,-0.155), (-0.23,0.155,0.23,0.385), (-0.23,1.205,0.23,1.435), (-0.23,1.745,0.23,1.975), (-0.23,2.795,0.23,3.025)])
A(sky130_fd_pr__nfet_01v8_, nsdm, -0.665, -2.76, 1.33, 0.75, 1, 4, 0, 1.59)
R(sky130_fd_pr__nfet_01v8_, psdm, [(-1.175,-3.63,1.175,-3.21), (-1.175,-3.21,-0.755,3.21), (0.755,-3.21,1.175,3.21), (-1.175,3.21,1.175,3.63)])
A(sky130_fd_pr__nfet_01v8_, npc, -0.185, -2.045, 0.37, 0.91, 1, 3, 0, 1.59)
R(sky130_fd_pr__nfet_01v8_, npc, [(-0.185,-3.095,0.185,-2.725), (-0.185,2.725,0.185,3.095)])
R(sky130_fd_pr__nfet_01v8_, boundary, [(-0.965,-3.42,0.965,3.42)])

sky130_fd_pr__pfet_01v8_ = lib.new_cell('sky130_fd_pr__pfet_01v8_TMY429')
R(sky130_fd_pr__pfet_01v8_, nwell, [(-1.23,-5.865,1.23,5.865)])
A(sky130_fd_pr__pfet_01v8_, diff, -0.54, -4.77, 1.08, 1.5, 1, 4, 0, 2.68)
R(sky130_fd_pr__pfet_01v8_, tap, [(-1.05,-5.685,1.05,-5.515), (-1.05,-5.515,-0.88,5.515), (0.88,-5.515,1.05,5.515), (-1.05,5.515,1.05,5.685)])
A(sky130_fd_pr__pfet_01v8_, poly, -0.25, -5.255, 0.5, 2.47, 1, 4, 0, 2.68)
A(sky130_fd_pr__pfet_01v8_, licon, -0.425, -5.685, 0.17, 0.17, 3, 2, 0.34, 11.2)
A(sky130_fd_pr__pfet_01v8_, licon, -1.05, -5.185, 0.17, 0.17, 1, 31, 0, 0.34)
A(sky130_fd_pr__pfet_01v8_, licon, 0.88, -5.185, 0.17, 0.17, 1, 31, 0, 0.34)
A(sky130_fd_pr__pfet_01v8_, licon, -0.48, -4.615, 0.17, 0.17, 1, 4, 0, 0.34)
A(sky130_fd_pr__pfet_01v8_, licon, 0.31, -4.615, 0.17, 0.17, 1, 4, 0, 0.34)
A(sky130_fd_pr__pfet_01v8_, licon, -0.48, -1.935, 0.17, 0.17, 1, 4, 0, 0.34)
A(sky130_fd_pr__pfet_01v8_, licon, 0.31, -1.935, 0.17, 0.17, 1, 4, 0, 0.34)
A(sky130_fd_pr__pfet_01v8_, licon, -0.48, 0.745, 0.17, 0.17, 1, 4, 0, 0.34)
A(sky130_fd_pr__pfet_01v8_, licon, 0.31, 0.745, 0.17, 0.17, 1, 4, 0, 0.34)
A(sky130_fd_pr__pfet_01v8_, licon, -0.48, 3.425, 0.17, 0.17, 1, 4, 0, 0.34)
A(sky130_fd_pr__pfet_01v8_, licon, 0.31, 3.425, 0.17, 0.17, 1, 4, 0, 0.34)
R(sky130_fd_pr__pfet_01v8_, licon, [(-0.085,-5.175,0.085,-5.005), (-0.085,-3.035,0.085,-2.865), (-0.085,-2.495,0.085,-2.325), (-0.085,-0.355,0.085,-0.185), (-0.085,0.185,0.085,0.355), (-0.085,2.325,0.085,2.495), (-0.085,2.865,0.085,3.035), (-0.085,5.005,0.085,5.175)])
A(sky130_fd_pr__pfet_01v8_, li1, -0.48, -4.79, 0.17, 1.54, 1, 4, 0, 2.68)
A(sky130_fd_pr__pfet_01v8_, li1, 0.31, -4.79, 0.17, 1.54, 1, 4, 0, 2.68)
R(sky130_fd_pr__pfet_01v8_, li1, [(-1.05,-5.685,1.05,-5.515), (-1.05,-5.515,-0.88,5.515), (0.88,-5.515,1.05,5.515), (-0.25,-5.175,0.25,-5.005), (-0.25,-3.035,0.25,-2.865), (-0.25,-2.495,0.25,-2.325), (-0.25,-0.355,0.25,-0.185), (-0.25,0.185,0.25,0.355), (-0.25,2.325,0.25,2.495), (-0.25,2.865,0.25,3.035), (-0.25,5.005,0.25,5.175), (-1.05,5.515,1.05,5.685)])
A(sky130_fd_pr__pfet_01v8_, mcon, -0.48, -4.645, 0.17, 0.17, 1, 4, 0, 0.36)
A(sky130_fd_pr__pfet_01v8_, mcon, 0.31, -4.645, 0.17, 0.17, 1, 4, 0, 0.36)
A(sky130_fd_pr__pfet_01v8_, mcon, -0.48, -1.965, 0.17, 0.17, 1, 4, 0, 0.36)
A(sky130_fd_pr__pfet_01v8_, mcon, 0.31, -1.965, 0.17, 0.17, 1, 4, 0, 0.36)
A(sky130_fd_pr__pfet_01v8_, mcon, -0.48, 0.715, 0.17, 0.17, 1, 4, 0, 0.36)
A(sky130_fd_pr__pfet_01v8_, mcon, 0.31, 0.715, 0.17, 0.17, 1, 4, 0, 0.36)
A(sky130_fd_pr__pfet_01v8_, mcon, -0.48, 3.395, 0.17, 0.17, 1, 4, 0, 0.36)
A(sky130_fd_pr__pfet_01v8_, mcon, 0.31, 3.395, 0.17, 0.17, 1, 4, 0, 0.36)
R(sky130_fd_pr__pfet_01v8_, mcon, [(-0.085,-5.175,0.085,-5.005), (-0.085,-3.035,0.085,-2.865), (-0.085,-2.495,0.085,-2.325), (-0.085,-0.355,0.085,-0.185), (-0.085,0.185,0.085,0.355), (-0.085,2.325,0.085,2.495), (-0.085,2.865,0.085,3.035), (-0.085,5.005,0.085,5.175)])
A(sky130_fd_pr__pfet_01v8_, met1, -0.51, -4.77, 0.23, 1.5, 1, 4, 0, 2.68)
A(sky130_fd_pr__pfet_01v8_, met1, 0.28, -4.77, 0.23, 1.5, 1, 4, 0, 2.68)
R(sky130_fd_pr__pfet_01v8_, met1, [(-0.23,-5.205,0.23,-4.975), (-0.23,-3.065,0.23,-2.835), (-0.23,-2.525,0.23,-2.295), (-0.23,-0.385,0.23,-0.155), (-0.23,0.155,0.23,0.385), (-0.23,2.295,0.23,2.525), (-0.23,2.835,0.23,3.065), (-0.23,4.975,0.23,5.205)])
R(sky130_fd_pr__pfet_01v8_, nsdm, [(-1.175,-5.81,1.175,-5.39), (-1.175,-5.39,-0.755,5.39), (0.755,-5.39,1.175,5.39), (-1.175,5.39,1.175,5.81)])
A(sky130_fd_pr__pfet_01v8_, psdm, -0.665, -4.895, 1.33, 1.75, 1, 4, 0, 2.68)
A(sky130_fd_pr__pfet_01v8_, npc, -0.185, -3.135, 0.37, 0.91, 1, 3, 0, 2.68)
R(sky130_fd_pr__pfet_01v8_, npc, [(-0.185,-5.275,0.185,-4.905), (-0.185,4.905,0.185,5.275)])
R(sky130_fd_pr__pfet_01v8_, boundary, [(-0.965,-5.6,0.965,5.6)])

dac_sw_4 = lib.new_cell('dac_sw_4')
A(dac_sw_4, li1, 5.965, -11.285, 0.17, 1.45, 3, 1, 1.93, 0)
A(dac_sw_4, li1, 1.575, -10.665, 0.17, 0.83, 3, 1, 1.93, 0)
A(dac_sw_4, mcon, 5.965, -11.13, 0.17, 0.17, 3, 1, 1.93, 0)
A(dac_sw_4, mcon, 1.575, -10.51, 0.17, 0.17, 3, 1, 1.93, 0)
R(dac_sw_4, met1_pin, [(1.395,-11.285,1.875,-10.805), (1.395,-10.665,1.875,-10.185)])
A(dac_sw_4, met1, 7.275, -9.135, 1.41, 0.5, 1, 4, 0, 1.59)
A(dac_sw_4, met1, 9.205, -9.135, 0.32, 0.5, 1, 4, 0, 1.59)
A(dac_sw_4, met1, 2.045, -9.09, 0.32, 1.5, 1, 4, 0, 2.68)
A(dac_sw_4, met1, 2.885, -9.09, 1.41, 1.5, 1, 4, 0, 2.68)
R(dac_sw_4, met1, [(1.395,-11.285,10.175,-10.805), (1.395,-10.665,10.175,-10.185), (2.465,-9.94,9.105,-9.68), (2.395,-9.54,2.855,-9.28), (4.325,-9.54,4.785,-9.28), (6.785,-9.54,7.245,-9.28), (8.715,-9.54,9.175,-9.28), (4.815,-9.135,6.755,-8.635), (4.815,-8.635,5.135,-7.59), (6.785,-8.49,7.245,-8.23), (8.71,-8.49,9.17,-8.23), (6.785,-7.95,7.245,-7.69), (8.715,-7.95,9.175,-7.69), (6.435,-7.545,6.755,-7.045), (2.395,-7.4,2.855,-7.14), (4.325,-7.4,4.785,-7.14), (6.79,-6.9,7.25,-6.64), (8.715,-6.9,9.175,-6.64), (2.395,-6.86,2.855,-6.6), (4.325,-6.86,4.785,-6.6), (4.815,-6.41,5.135,-5.955), (6.785,-6.36,7.245,-6.1), (8.715,-6.36,9.175,-6.1), (4.815,-5.955,6.755,-5.455), (4.815,-5.455,5.135,-4.91), (6.785,-5.31,7.245,-5.05), (8.715,-5.31,9.175,-5.05), (6.785,-4.77,7.245,-4.51), (8.715,-4.77,9.175,-4.51), (2.395,-4.72,2.855,-4.46), (4.325,-4.72,4.785,-4.46), (6.435,-4.365,6.755,-3.865), (2.395,-4.18,2.855,-3.92), (4.325,-4.18,4.785,-3.92), (4.815,-3.73,5.135,-2.23), (6.785,-3.72,7.245,-3.46), (8.715,-3.72,9.175,-3.46), (2.395,-2.04,2.855,-1.78), (4.325,-2.04,4.785,-1.78), (2.395,-1.5,2.855,-1.24), (4.325,-1.5,4.785,-1.24), (4.815,-1.05,5.135,0.45), (2.395,0.64,2.855,0.9), (4.325,0.64,4.785,0.9)])
A(dac_sw_4, via, 6.52, -9.08, 0.15, 0.15, 1, 4, 0, 1.59)
A(dac_sw_4, via, 7.36, -9.08, 0.15, 0.15, 1, 4, 0, 1.59)
A(dac_sw_4, via, 8.45, -9.08, 0.15, 0.15, 1, 4, 0, 1.59)
A(dac_sw_4, via, 9.29, -9.08, 0.15, 0.15, 1, 4, 0, 1.59)
A(dac_sw_4, via, 2.13, -9.035, 0.15, 0.15, 1, 3, 0, 0.62)
A(dac_sw_4, via, 2.97, -9.035, 0.15, 0.15, 1, 3, 0, 0.62)
A(dac_sw_4, via, 4.06, -9.035, 0.15, 0.15, 1, 3, 0, 0.62)
A(dac_sw_4, via, 4.9, -9.035, 0.15, 0.15, 1, 3, 0, 0.62)
A(dac_sw_4, via, 2.13, -6.355, 0.15, 0.15, 1, 3, 0, 0.62)
A(dac_sw_4, via, 2.97, -6.355, 0.15, 0.15, 1, 3, 0, 0.62)
A(dac_sw_4, via, 4.06, -6.355, 0.15, 0.15, 1, 3, 0, 0.62)
A(dac_sw_4, via, 4.9, -6.355, 0.15, 0.15, 1, 3, 0, 0.62)
A(dac_sw_4, via, 2.13, -3.675, 0.15, 0.15, 1, 3, 0, 0.62)
A(dac_sw_4, via, 2.97, -3.675, 0.15, 0.15, 1, 3, 0, 0.62)
A(dac_sw_4, via, 4.06, -3.675, 0.15, 0.15, 1, 3, 0, 0.62)
A(dac_sw_4, via, 4.9, -3.675, 0.15, 0.15, 1, 3, 0, 0.62)
A(dac_sw_4, via, 2.13, -0.995, 0.15, 0.15, 1, 3, 0, 0.62)
A(dac_sw_4, via, 2.97, -0.995, 0.15, 0.15, 1, 3, 0, 0.62)
A(dac_sw_4, via, 4.06, -0.995, 0.15, 0.15, 1, 3, 0, 0.62)
A(dac_sw_4, via, 4.9, -0.995, 0.15, 0.15, 1, 3, 0, 0.62)
R(dac_sw_4, via, [(9.29,-11.105,9.44,-10.955), (2.13,-10.485,2.28,-10.335), (2.55,-9.885,2.7,-9.735), (8.87,-9.885,9.02,-9.735), (2.55,-9.485,2.7,-9.335), (4.48,-9.485,4.63,-9.335), (6.94,-9.485,7.09,-9.335), (8.87,-9.485,9.02,-9.335), (6.94,-8.435,7.09,-8.285), (8.87,-8.435,9.02,-8.285), (6.94,-7.895,7.09,-7.745), (8.87,-7.895,9.02,-7.745), (2.55,-7.345,2.7,-7.195), (4.48,-7.345,4.63,-7.195), (6.94,-6.845,7.09,-6.695), (8.87,-6.845,9.02,-6.695), (2.55,-6.805,2.7,-6.655), (4.48,-6.805,4.63,-6.655), (6.94,-6.305,7.09,-6.155), (8.87,-6.305,9.02,-6.155), (6.94,-5.255,7.09,-5.105), (8.87,-5.255,9.02,-5.105), (6.94,-4.715,7.09,-4.565), (8.87,-4.715,9.02,-4.565), (2.55,-4.665,2.7,-4.515), (4.48,-4.665,4.63,-4.515), (2.55,-4.125,2.7,-3.975), (4.48,-4.125,4.63,-3.975), (6.94,-3.665,7.09,-3.515), (8.87,-3.665,9.02,-3.515), (2.55,-1.985,2.7,-1.835), (4.48,-1.985,4.63,-1.835), (2.55,-1.445,2.7,-1.295), (4.48,-1.445,4.63,-1.295), (2.55,0.695,2.7,0.845), (4.48,0.695,4.63,0.845)])
R(dac_sw_4, met2_pin, [(4.425,-9.54,4.685,-9.28), (6.885,-9.54,7.145,-9.28), (8.815,-3.72,9.075,-3.46), (4.845,0.19,5.105,0.45)])
R(dac_sw_4, met2, [(9.225,-11.285,9.505,-3.835), (2.065,-10.665,2.345,0.48), (2.485,-9.97,2.765,0.93), (8.805,-9.97,9.085,-3.43), (4.415,-9.57,4.695,0.93), (6.875,-9.57,7.155,-3.43), (6.455,-9.165,6.735,-3.835), (7.295,-9.165,7.575,-3.835), (8.385,-9.165,8.665,-3.835), (2.905,-9.12,3.185,0.48), (3.995,-9.12,4.275,0.48), (4.835,-9.12,5.115,0.48)])
dac_sw_4.add(gdstk.Reference(sky130_fd_pr__nfet_01v8_, (8.945,-6.5)))
dac_sw_4.add(gdstk.Reference(sky130_fd_pr__nfet_01v8_, (7.015,-6.5)))
dac_sw_4.add(gdstk.Reference(sky130_fd_pr__pfet_01v8_, (4.555,-4.32)))
dac_sw_4.add(gdstk.Reference(sky130_fd_pr__pfet_01v8_, (2.625,-4.32)))
dac_sw_4.add(gdstk.Label('vdda', (1.635,-10.425), layer=68, texttype=5))
dac_sw_4.add(gdstk.Label('in', (8.945,-3.59), layer=69, texttype=5))
dac_sw_4.add(gdstk.Label('ck', (7.015,-9.41), layer=69, texttype=5))
dac_sw_4.add(gdstk.Label('ckb', (4.555,-9.41), layer=69, texttype=5))
dac_sw_4.add(gdstk.Label('vssa', (1.635,-11.045), layer=68, texttype=5))
dac_sw_4.add(gdstk.Label('out', (4.975,0.32), layer=69, texttype=5))

tg_sw_4 = lib.new_cell('tg_sw_4')
R(tg_sw_4, li1, [(4.26,-11.395,4.43,-9.945), (6.19,-11.395,6.36,-9.945), (1.8,-10.775,1.97,-9.945), (3.73,-10.775,3.9,-9.945)])
R(tg_sw_4, mcon, [(4.26,-11.24,4.43,-11.07), (6.19,-11.24,6.36,-11.07), (1.8,-10.62,1.97,-10.45), (3.73,-10.62,3.9,-10.45)])
R(tg_sw_4, met1_pin, [(1.62,-11.825,1.91,-11.535), (1.62,-11.395,2.1,-10.915), (1.62,-10.775,2.1,-10.295)])
A(tg_sw_4, met1, 5.57, -9.245, 0.32, 0.5, 1, 4, 0, 1.59)
A(tg_sw_4, met1, 2.27, -9.2, 0.32, 1.5, 1, 4, 0, 2.68)
R(tg_sw_4, met1, [(1.62,-11.825,6.54,-11.535), (1.62,-11.395,6.54,-10.915), (1.62,-10.775,6.54,-10.295), (2.27,-10.08,5.89,-9.82), (2.62,-9.65,3.08,-9.39), (5.08,-9.65,5.54,-9.39), (3.11,-9.245,5.05,-8.745), (3.11,-8.745,3.43,-7.7), (5.08,-8.6,5.54,-8.34), (5.08,-8.06,5.54,-7.8), (4.73,-7.655,5.05,-7.155), (2.62,-7.51,3.08,-7.25), (5.08,-7.01,5.54,-6.75), (2.62,-6.97,3.08,-6.71), (3.11,-6.52,3.43,-6.065), (5.08,-6.47,5.54,-6.21), (3.11,-6.065,5.05,-5.565), (3.11,-5.565,3.43,-5.02), (5.08,-5.42,5.54,-5.16), (5.08,-4.88,5.54,-4.62), (2.62,-4.83,3.08,-4.57), (4.73,-4.475,5.05,-3.975), (2.62,-4.29,3.08,-4.03), (3.11,-3.84,3.43,-2.34), (5.08,-3.83,5.54,-3.57), (2.62,-2.15,3.08,-1.89), (2.62,-1.61,3.08,-1.35), (3.11,-1.16,3.43,0.34), (2.62,0.53,3.08,0.79)])
A(tg_sw_4, via, 4.815, -9.19, 0.15, 0.15, 1, 4, 0, 1.59)
A(tg_sw_4, via, 5.655, -9.19, 0.15, 0.15, 1, 4, 0, 1.59)
A(tg_sw_4, via, 2.355, -9.145, 0.15, 0.15, 1, 3, 0, 0.62)
A(tg_sw_4, via, 3.195, -9.145, 0.15, 0.15, 1, 3, 0, 0.62)
A(tg_sw_4, via, 2.355, -6.465, 0.15, 0.15, 1, 3, 0, 0.62)
A(tg_sw_4, via, 3.195, -6.465, 0.15, 0.15, 1, 3, 0, 0.62)
A(tg_sw_4, via, 2.355, -3.785, 0.15, 0.15, 1, 3, 0, 0.62)
A(tg_sw_4, via, 3.195, -3.785, 0.15, 0.15, 1, 3, 0, 0.62)
A(tg_sw_4, via, 2.355, -1.105, 0.15, 0.15, 1, 3, 0, 0.62)
A(tg_sw_4, via, 3.195, -1.105, 0.15, 0.15, 1, 3, 0, 0.62)
R(tg_sw_4, via, [(2.355,-11.74,2.505,-11.59), (2.355,-10.025,2.505,-9.875), (5.655,-10.025,5.805,-9.875), (2.775,-9.595,2.925,-9.445), (5.235,-9.595,5.385,-9.445), (5.235,-8.545,5.385,-8.395), (5.235,-8.005,5.385,-7.855), (2.775,-7.455,2.925,-7.305), (5.235,-6.955,5.385,-6.805), (2.775,-6.915,2.925,-6.765), (5.235,-6.415,5.385,-6.265), (5.235,-5.365,5.385,-5.215), (5.235,-4.825,5.385,-4.675), (2.775,-4.775,2.925,-4.625), (2.775,-4.235,2.925,-4.085), (5.235,-3.775,5.385,-3.625), (2.775,-2.095,2.925,-1.945), (2.775,-1.555,2.925,-1.405), (2.775,0.585,2.925,0.735)])
R(tg_sw_4, met2_pin, [(2.72,-9.65,2.98,-9.39), (5.18,-9.65,5.44,-9.39), (3.14,0.08,3.4,0.34)])
R(tg_sw_4, met2, [(2.29,-11.825,2.57,0.37), (5.59,-10.11,5.87,-3.945), (2.71,-9.68,2.99,0.82), (5.17,-9.68,5.45,-3.54), (4.75,-9.275,5.03,-3.945), (3.13,-9.23,3.41,0.37)])
tg_sw_4.add(gdstk.Reference(sky130_fd_pr__nfet_01v8_, (5.31,-6.61)))
tg_sw_4.add(gdstk.Reference(sky130_fd_pr__pfet_01v8_, (2.85,-4.43)))
tg_sw_4.add(gdstk.Label('vdda', (1.86,-10.535), layer=68, texttype=5))
tg_sw_4.add(gdstk.Label('swp', (2.85,-9.52), layer=69, texttype=5))
tg_sw_4.add(gdstk.Label('swn', (5.31,-9.52), layer=69, texttype=5))
tg_sw_4.add(gdstk.Label('vssa', (1.86,-11.155), layer=68, texttype=5))
tg_sw_4.add(gdstk.Label('in', (1.765,-11.68), layer=68, texttype=5))
tg_sw_4.add(gdstk.Label('out', (3.27,0.21), layer=69, texttype=5))

cdac_sw_4 = lib.new_cell('cdac_sw_4')
R(cdac_sw_4, met1_pin, [(17.27,-22.325,17.56,-22.035), (17.08,-21.895,17.56,-21.415), (17.08,-21.275,17.56,-20.795)])
R(cdac_sw_4, met1, [(1.46,-22.325,17.56,-22.035), (2.805,-21.895,3.285,-21.445), (15.16,-21.895,17.56,-21.415), (4.99,-21.275,5.47,-20.825), (15.16,-21.275,17.56,-20.795)])
R(cdac_sw_4, via, [(2.97,-21.745,3.12,-21.595), (5.155,-21.125,5.305,-20.975)])
R(cdac_sw_4, met2, [(2.805,-22.945,3.285,-21.415), (4.99,-22.945,5.47,-20.795), (3.515,-22.745,3.795,-11.79), (4.48,-22.745,4.76,-19.88), (6.94,-22.745,7.22,-19.88), (11.33,-22.745,11.61,-19.88), (13.79,-22.745,14.07,-19.88), (8.87,-14.34,9.15,-11.15), (4.9,-10.835,5.18,-10.555), (11.75,-10.835,12.03,-10.555)])
R(cdac_sw_4, via2, [(3.555,-12.075,3.755,-11.875), (8.91,-11.435,9.11,-11.235), (4.94,-10.795,5.14,-10.595), (11.79,-10.795,11.99,-10.595)])
A(cdac_sw_4, met3_pin, 17.22, -12.145, 0.34, 0.34, 1, 3, 0, 0.64)
R(cdac_sw_4, met3, [(3.49,-12.145,17.56,-11.805), (8.845,-11.505,17.56,-11.165), (4.875,-10.865,17.56,-10.525)])
cdac_sw_4.add(gdstk.Reference(nooverlap_clk, (4.08,-24.47)))
cdac_sw_4.add(gdstk.Reference(dac_sw_4, (0.065,-10.61)))
cdac_sw_4.add(gdstk.Reference(tg_sw_4, (8.62,-10.5)))
cdac_sw_4.add(gdstk.Label('vdda', (17.32,-21.035), layer=68, texttype=5))
cdac_sw_4.add(gdstk.Label('cki', (17.39,-11.975), layer=70, texttype=5))
cdac_sw_4.add(gdstk.Label('bi', (17.39,-11.335), layer=70, texttype=5))
cdac_sw_4.add(gdstk.Label('vcm', (17.415,-22.18), layer=68, texttype=5))
cdac_sw_4.add(gdstk.Label('vssa', (17.32,-21.655), layer=68, texttype=5))
cdac_sw_4.add(gdstk.Label('dac_out', (17.39,-10.695), layer=70, texttype=5))

lib.write_gds('cdac_sw_4.gds')
